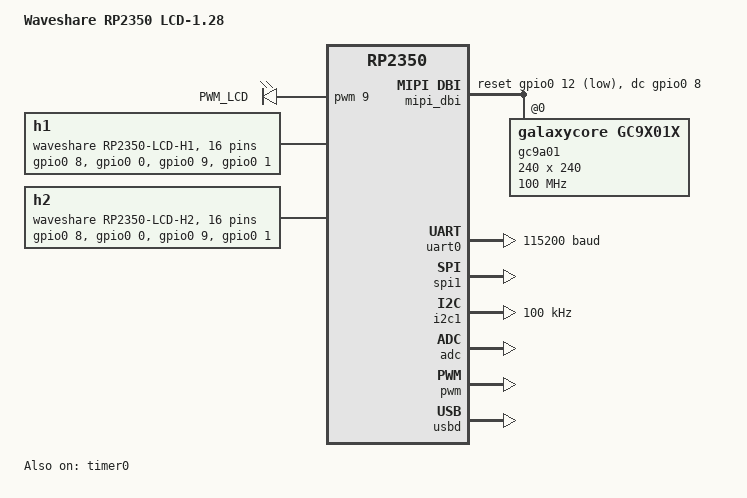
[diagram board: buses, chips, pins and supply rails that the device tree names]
/*
 * Copyright (c) 2025 Jared Woolston
 *
 * SPDX-License-Identifier: Apache-2.0
 */

#include <freq.h>

#include <zephyr/dt-bindings/i2c/i2c.h>
#include <zephyr/dt-bindings/pwm/pwm.h>
#include <zephyr/dt-bindings/display/panel.h>
#include <zephyr/dt-bindings/input/input-event-codes.h>

#include "rp2350_lcd-pinctrl.dtsi"

/ {
	model = "Waveshare RP2350 LCD-1.28";
	compatible = "waveshare,rp2350_lcd";

	aliases {
		led0 = &led0;
		pwm-lcd0 = &pwm_led0;
		watchdog0 = &wdt0;
	};

	chosen {
		zephyr,sram = &sram0;
		zephyr,flash = &flash0;
		zephyr,console = &uart0;
		zephyr,shell-uart = &uart0;
		zephyr,code-partition = &code_partition;
		zephyr,display = &gc9a01;
	};

	leds {
		compatible = "gpio-leds";
		status = "disabled";
		led0: led_0 {
			gpios = <&gpio0 25 GPIO_ACTIVE_HIGH>;
			label = "LED";
		};
	};

	pwm_leds {
		compatible = "pwm-leds";
		status = "okay";
		pwm_led0: pwm_led_0 {
			pwms = <&pwm 9 PWM_MSEC(20) PWM_POLARITY_NORMAL>;
			label = "PWM_LCD";
		};
	};

	/* Touch Controller */
	/*lvgl_pointer {
		compatible = "zephyr,lvgl-pointer-input";
		input = <&cst816s>;
	};

	/* MIPI DBI */
	mipi_dbi {
		compatible = "zephyr,mipi-dbi-spi";
		spi-dev = <&spi1>;
		dc-gpios = <&gpio0 8 GPIO_ACTIVE_HIGH>;
		reset-gpios = <&gpio0 12 GPIO_ACTIVE_LOW>;
		write-only;
		#address-cells = <1>;
		#size-cells = <0>;

		gc9a01: gc9a01@0 {
			status = "okay";
			compatible = "galaxycore,gc9x01x";
			reg = <0>;
			mipi-max-frequency = <100000000>;
			pixel-format = <PANEL_PIXEL_FORMAT_RGB_565>;
			display-inversion;
			width = <240>;
			height = <240>;
		};
	};

	h1: h1 {
		compatible = "waveshare,rp2350-lcd-h1";
		#gpio-cells = <2>;
		gpio-map-mask = <0xffffffff 0xffffffc0>;
		gpio-map-pass-thru = <0 0x3f>;
		gpio-map = <0 0 &gpio0 8 0>,	/* GP8 */
			<1 0 &gpio0 0 0>,	/* GP0 */
			<2 0 &gpio0 9 0>,	/* GP9 */
			<3 0 &gpio0 1 0>,	/* GP1 */
			<4 0 &gpio0 10 0>,	/* GP10 */
			<5 0 &gpio0 2 0>,	/* GP2 */
			<6 0 &gpio0 11 0>,	/* GP11 */
			<7 0 &gpio0 3 0>,	/* GP3 */
			<8 0 &gpio0 12 0>,	/* GP12 */
			<9 0 &gpio0 4 0>,	/* GP4 */
			<10 0 &gpio0 13 0>,	/* GP13 */
			<11 0 &gpio0 5 0>,	/* GP5 */
			<12 0 &gpio0 14 0>,	/* GP14 */
			<13 0 &gpio0 6 0>,	/* GP6 */
			<14 0 &gpio0 15 0>,	/* GP15 */
			<15 0 &gpio0 7 0>;	/* GP7 */
	};

	h2: h2 {
		compatible = "waveshare,rp2350-lcd-h2";
		#gpio-cells = <2>;
		gpio-map-mask = <0xffffffff 0xffffffc0>;
		gpio-map-pass-thru = <0 0x3f>;
		gpio-map = <0 0 &gpio0 8 0>,	/* GP8 */
				   <1 0 &gpio0 0 0>,	/* GP0 */
				   <2 0 &gpio0 9 0>,	/* GP9 */
				   <3 0 &gpio0 1 0>,	/* GP1 */
				   <4 0 &gpio0 10 0>,	/* GP10 */
				   <5 0 &gpio0 2 0>,	/* GP2 */
				   <6 0 &gpio0 11 0>,	/* GP11 */
				   <7 0 &gpio0 3 0>,	/* GP3 */
				   <8 0 &gpio0 12 0>,	/* GP12 */
				   <9 0 &gpio0 4 0>,	/* GP4 */
				   <10 0 &gpio0 13 0>,	/* GP13 */
				   <11 0 &gpio0 5 0>,	/* GP5 */
				   <12 0 &gpio0 14 0>,	/* GP14 */
				   <13 0 &gpio0 6 0>,	/* GP6 */
				   <14 0 &gpio0 15 0>,	/* GP15 */
				   <15 0 &gpio0 7 0>;	/* GP7 */
	};

};

&flash0 {
	reg = <0x10000000 DT_SIZE_M(4)>;

	partitions {
		compatible = "fixed-partitions";
		#address-cells = <1>;
		#size-cells = <1>;

		/* Reserved memory for an image definition block. The block is much
		 * smaller than 256 bytes, but in practice the linker places the vector
		 * table at a much larger alignment offset.
		 */
		image_def: partition@0 {
			label = "image_def";
			reg = <0x00000000 0x100>;
			read-only;
		};

		/*
		 * Usable flash. Starts at 0x100, after the image definition block.
		 * The partition size is 4MB minus the 0x100 bytes taken by the
		 * image definition.
		 */
		code_partition: partition@100 {
			label = "code-partition";
			reg = <0x100 (DT_SIZE_M(4) - 0x100)>;
			read-only;
		};
	};
};

&uart0 {
	current-speed = <115200>;
	status = "okay";
	pinctrl-0 = <&uart0_default>;
	pinctrl-names = "default";
};

&gpio0 {
	status = "okay";
};

&spi1 {
	status = "okay";
	#address-cells = <1>;
	#size-cells = <0>;
	pinctrl-0 = <&spi1_default>;
	pinctrl-names = "default";
	cs-gpios = <&gpio0 9 GPIO_ACTIVE_LOW>;
};

&i2c1 {
	clock-frequency = <I2C_BITRATE_STANDARD>;
	pinctrl-0 = <&i2c1_default>;
	pinctrl-names = "default";
	status = "okay";
};

&adc {
	pinctrl-0 = <&adc_default>;
	pinctrl-names = "default";
	status = "okay";
};

&pwm {
	pinctrl-0 = <&pwm_ch4b_default>;
	pinctrl-names = "default";
	divider-int-0 = <255>;
	status = "okay";
};

&timer0 {
	status = "okay";
};

zephyr_udc0: &usbd {
	status = "okay";
};

pico_serial: &uart0 {};
